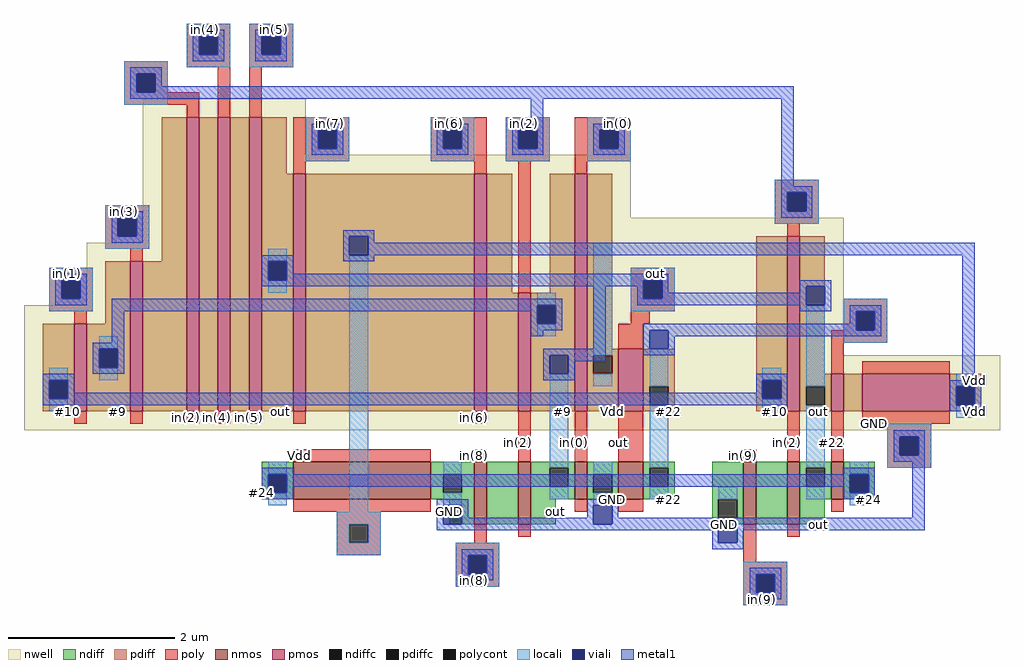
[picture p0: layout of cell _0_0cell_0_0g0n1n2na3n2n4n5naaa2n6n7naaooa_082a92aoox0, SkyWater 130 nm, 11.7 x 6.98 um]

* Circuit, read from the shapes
.subckt _0_0cell_0_0g0n1n2na3n2n4n5naaa2n6n7naaooa_082a92aoox0 Vdd in(9) in(8) in(7) in(6) in(5) in(4) in(3) in(2) in(1) out in(0)
XM1 GND Vdd #24 VSUBS sky130_fd_pr__nfet_01v8 w=0.45 l=1.65
XM2 n1 in(8) GND VSUBS sky130_fd_pr__nfet_01v8 w=0.75 l=0.15
XM3 out in(2) n1 VSUBS sky130_fd_pr__nfet_01v8 w=0.75 l=0.15
XM4 GND in(0) out VSUBS sky130_fd_pr__nfet_01v8 w=0.45 l=0.15
XM5 #22 out GND VSUBS sky130_fd_pr__nfet_01v8 w=0.45 l=0.3
XM6 n2 in(9) GND VSUBS sky130_fd_pr__nfet_01v8 w=0.75 l=0.15
XM7 out in(2) n2 VSUBS sky130_fd_pr__nfet_01v8 w=0.75 l=0.15
XM8 #24 #22 out VSUBS sky130_fd_pr__nfet_01v8 w=0.45 l=0.15
XM9 #9 in(1) #10 n3 sky130_fd_pr__pfet_01v8 w=1.05 l=0.15
XM10 n4 in(3) #9 n3 sky130_fd_pr__pfet_01v8 w=1.8 l=0.15
XM11 n5 in(2) n4 n3 sky130_fd_pr__pfet_01v8 w=3.525 l=0.15
XM12 n6 in(4) n5 n3 sky130_fd_pr__pfet_01v8 w=3.525 l=0.15
XM13 out in(5) n6 n3 sky130_fd_pr__pfet_01v8 w=3.525 l=0.15
XM14 n7 in(7) out n3 sky130_fd_pr__pfet_01v8 w=2.85 l=0.15
XM15 n8 in(6) n7 n3 sky130_fd_pr__pfet_01v8 w=2.85 l=0.15
XM16 #9 in(2) n8 n3 sky130_fd_pr__pfet_01v8 w=1.425 l=0.15
XM17 Vdd in(0) #9 n3 sky130_fd_pr__pfet_01v8 w=2.85 l=0.15
XM18 #22 out Vdd n3 sky130_fd_pr__pfet_01v8 w=0.75 l=0.3
XM19 out in(2) #10 n3 sky130_fd_pr__pfet_01v8 w=2.1 l=0.15
XM20 n9 #22 out n3 sky130_fd_pr__pfet_01v8 w=0.45 l=0.15
XM21 Vdd GND n9 n3 sky130_fd_pr__pfet_01v8 w=0.45 l=1.05
.ends

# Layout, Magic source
magic
tech sky130A
magscale 1 2
<< nwell >>
rect 360 975 750 1110
rect 360 825 1530 975
rect 360 765 2040 825
rect 225 615 2040 765
rect 75 495 2040 615
rect 75 315 2415 495
<< nmos >>
rect 720 150 1050 240
rect 1155 90 1185 240
rect 1260 90 1290 240
rect 1395 150 1425 240
rect 1500 150 1560 240
rect 1800 90 1830 240
rect 1905 90 1935 240
rect 2010 150 2040 240
<< pmos >>
rect 195 360 225 570
rect 330 360 360 720
rect 465 360 495 1065
rect 540 360 570 1065
rect 615 360 645 1065
rect 720 360 750 930
rect 1155 360 1185 930
rect 1260 360 1290 645
rect 1395 360 1425 930
rect 1500 360 1560 510
rect 1905 360 1935 780
rect 2010 360 2040 450
rect 2085 360 2295 450
<< ndiff >>
rect 645 210 720 240
rect 645 165 660 210
rect 705 165 720 210
rect 645 150 720 165
rect 1050 210 1155 240
rect 1050 165 1080 210
rect 1125 165 1155 210
rect 1050 150 1155 165
rect 1095 90 1155 150
rect 1185 90 1260 240
rect 1290 225 1395 240
rect 1290 180 1335 225
rect 1380 180 1395 225
rect 1290 150 1395 180
rect 1425 210 1500 240
rect 1425 165 1440 210
rect 1485 165 1500 210
rect 1425 150 1500 165
rect 1560 225 1635 240
rect 1560 180 1575 225
rect 1620 180 1635 225
rect 1560 150 1635 180
rect 1725 150 1800 240
rect 1290 90 1350 150
rect 1725 105 1740 150
rect 1785 105 1800 150
rect 1725 90 1800 105
rect 1830 90 1905 240
rect 1935 225 2010 240
rect 1935 180 1950 225
rect 1995 180 2010 225
rect 1935 150 2010 180
rect 2040 210 2115 240
rect 2040 165 2055 210
rect 2100 165 2115 210
rect 2040 150 2115 165
rect 1935 90 1995 150
<< pdiff >>
rect 405 720 465 1065
rect 270 570 330 720
rect 120 435 195 570
rect 120 390 135 435
rect 180 390 195 435
rect 120 360 195 390
rect 225 510 330 570
rect 225 465 255 510
rect 300 465 330 510
rect 225 360 330 465
rect 360 360 465 720
rect 495 360 540 1065
rect 570 360 615 1065
rect 645 930 705 1065
rect 645 720 720 930
rect 645 675 660 720
rect 705 675 720 720
rect 645 360 720 675
rect 750 360 1155 930
rect 1185 645 1245 930
rect 1335 645 1395 930
rect 1185 360 1260 645
rect 1290 615 1395 645
rect 1290 570 1305 615
rect 1350 570 1395 615
rect 1290 360 1395 570
rect 1425 510 1485 930
rect 1425 495 1500 510
rect 1425 450 1440 495
rect 1485 450 1500 495
rect 1425 360 1500 450
rect 1560 420 1635 510
rect 1560 375 1575 420
rect 1620 375 1635 420
rect 1560 360 1635 375
rect 1830 435 1905 780
rect 1830 390 1845 435
rect 1890 390 1905 435
rect 1830 360 1905 390
rect 1935 450 1995 780
rect 1935 420 2010 450
rect 1935 375 1950 420
rect 1995 375 2010 420
rect 1935 360 2010 375
rect 2040 360 2085 450
rect 2295 420 2370 450
rect 2295 375 2310 420
rect 2355 375 2370 420
rect 2295 360 2370 375
<< ndiffc >>
rect 660 165 705 210
rect 1080 165 1125 210
rect 1335 180 1380 225
rect 1440 165 1485 210
rect 1575 180 1620 225
rect 1740 105 1785 150
rect 1950 180 1995 225
rect 2055 165 2100 210
<< pdiffc >>
rect 135 390 180 435
rect 255 465 300 510
rect 660 675 705 720
rect 1305 570 1350 615
rect 1440 450 1485 495
rect 1575 375 1620 420
rect 1845 390 1890 435
rect 1950 375 1995 420
rect 2310 375 2355 420
<< poly >>
rect 465 1260 570 1290
rect 465 1215 495 1260
rect 540 1215 570 1260
rect 315 1170 420 1200
rect 465 1185 570 1215
rect 315 1125 345 1170
rect 390 1125 420 1170
rect 315 1095 495 1125
rect 465 1065 495 1095
rect 540 1065 570 1185
rect 615 1260 720 1290
rect 615 1215 645 1260
rect 690 1215 720 1260
rect 615 1185 720 1215
rect 615 1065 645 1185
rect 270 825 375 855
rect 270 780 300 825
rect 345 780 375 825
rect 270 750 375 780
rect 330 720 360 750
rect 135 675 240 705
rect 135 630 165 675
rect 210 630 240 675
rect 135 600 240 630
rect 195 570 225 600
rect 720 1035 855 1065
rect 720 990 780 1035
rect 825 990 855 1035
rect 720 960 855 990
rect 1050 1035 1185 1065
rect 1050 990 1080 1035
rect 1125 990 1185 1035
rect 1050 960 1185 990
rect 1230 1035 1335 1065
rect 1230 990 1260 1035
rect 1305 990 1335 1035
rect 1230 960 1335 990
rect 1395 1035 1530 1065
rect 1395 990 1455 1035
rect 1500 990 1530 1035
rect 1395 960 1530 990
rect 720 930 750 960
rect 1155 930 1185 960
rect 1260 645 1290 960
rect 1395 930 1425 960
rect 1875 885 1980 915
rect 1875 840 1905 885
rect 1950 840 1980 885
rect 1875 810 1980 840
rect 1905 780 1935 810
rect 1530 675 1635 705
rect 1530 630 1560 675
rect 1605 630 1635 675
rect 1530 600 1635 630
rect 1530 570 1575 600
rect 1500 510 1560 570
rect 2040 600 2145 630
rect 2040 555 2070 600
rect 2115 555 2145 600
rect 2010 525 2145 555
rect 2010 450 2040 525
rect 2085 450 2295 480
rect 195 330 225 360
rect 330 330 360 360
rect 465 330 495 360
rect 540 330 570 360
rect 615 330 645 360
rect 720 330 750 360
rect 1155 330 1185 360
rect 720 240 1050 270
rect 1155 240 1185 270
rect 1260 240 1290 360
rect 1395 240 1425 360
rect 1500 240 1560 360
rect 1800 240 1830 270
rect 1905 240 1935 360
rect 2010 240 2040 360
rect 2085 330 2295 360
rect 2145 300 2250 330
rect 2145 255 2175 300
rect 2220 255 2250 300
rect 720 120 1050 150
rect 825 90 930 120
rect 1395 120 1425 150
rect 1500 120 1560 150
rect 2145 225 2250 255
rect 2010 120 2040 150
rect 825 45 855 90
rect 900 45 930 90
rect 1155 45 1185 90
rect 1260 60 1290 90
rect 825 15 930 45
rect 1110 15 1215 45
rect 1110 -30 1140 15
rect 1185 -30 1215 15
rect 1110 -60 1215 -30
rect 1800 0 1830 90
rect 1905 60 1935 90
rect 1800 -30 1905 0
rect 1800 -75 1830 -30
rect 1875 -75 1905 -30
rect 1800 -105 1905 -75
<< polycont >>
rect 495 1215 540 1260
rect 345 1125 390 1170
rect 645 1215 690 1260
rect 300 780 345 825
rect 165 630 210 675
rect 780 990 825 1035
rect 1080 990 1125 1035
rect 1260 990 1305 1035
rect 1455 990 1500 1035
rect 1905 840 1950 885
rect 1560 630 1605 675
rect 2070 555 2115 600
rect 2175 255 2220 300
rect 855 45 900 90
rect 1140 -30 1185 15
rect 1830 -75 1875 -30
<< locali >>
rect 465 1260 570 1290
rect 465 1215 495 1260
rect 540 1215 570 1260
rect 315 1170 420 1200
rect 465 1185 570 1215
rect 615 1260 720 1290
rect 615 1215 645 1260
rect 690 1215 720 1260
rect 615 1185 720 1215
rect 315 1125 345 1170
rect 390 1125 420 1170
rect 315 1095 420 1125
rect 750 1035 855 1065
rect 750 990 780 1035
rect 825 990 855 1035
rect 750 960 855 990
rect 1050 1035 1155 1065
rect 1050 990 1080 1035
rect 1125 990 1155 1035
rect 1050 960 1155 990
rect 1230 1035 1335 1065
rect 1230 990 1260 1035
rect 1305 990 1335 1035
rect 1230 960 1335 990
rect 1425 1035 1530 1065
rect 1425 990 1455 1035
rect 1500 990 1530 1035
rect 1425 960 1530 990
rect 1875 885 1980 915
rect 270 825 375 855
rect 270 780 300 825
rect 345 780 375 825
rect 1875 840 1905 885
rect 1950 840 1980 885
rect 1875 810 1980 840
rect 270 750 375 780
rect 660 720 705 750
rect 135 675 240 705
rect 135 630 165 675
rect 210 630 240 675
rect 660 645 705 675
rect 135 600 240 630
rect 255 510 300 540
rect 135 435 180 465
rect 255 435 300 465
rect 135 360 180 390
rect 660 210 705 240
rect 660 135 705 165
rect 855 120 900 735
rect 1305 615 1350 645
rect 1305 540 1350 570
rect 1440 495 1485 765
rect 1530 675 1635 705
rect 1530 630 1560 675
rect 1605 630 1635 675
rect 1530 600 1635 630
rect 1080 210 1125 240
rect 1080 135 1125 165
rect 1335 225 1380 450
rect 1440 420 1485 450
rect 1575 420 1620 510
rect 1335 150 1380 180
rect 1440 210 1485 240
rect 825 90 930 120
rect 1440 135 1485 165
rect 1575 225 1620 375
rect 1845 435 1890 465
rect 1845 360 1890 390
rect 1950 420 1995 615
rect 2040 600 2145 630
rect 2040 555 2070 600
rect 2115 555 2145 600
rect 2040 525 2145 555
rect 1950 225 1995 375
rect 2310 420 2355 450
rect 2310 345 2355 375
rect 2145 300 2250 330
rect 2145 255 2175 300
rect 2220 255 2250 300
rect 1575 150 1620 180
rect 1740 150 1785 180
rect 1950 150 1995 180
rect 2055 210 2100 240
rect 2145 225 2250 255
rect 2055 135 2100 165
rect 1740 90 1785 105
rect 825 45 855 90
rect 900 45 930 90
rect 825 15 930 45
rect 1110 15 1215 45
rect 1110 -30 1140 15
rect 1185 -30 1215 15
rect 1110 -60 1215 -30
rect 1800 -30 1905 0
rect 1800 -75 1830 -30
rect 1875 -75 1905 -30
rect 1800 -105 1905 -75
<< viali >>
rect 495 1215 540 1260
rect 645 1215 690 1260
rect 345 1125 390 1170
rect 780 990 825 1035
rect 1080 990 1125 1035
rect 1260 990 1305 1035
rect 1455 990 1500 1035
rect 300 780 345 825
rect 1905 840 1950 885
rect 165 630 210 675
rect 660 675 705 720
rect 855 735 900 780
rect 255 465 300 510
rect 135 390 180 435
rect 660 165 705 210
rect 1305 570 1350 615
rect 1560 630 1605 675
rect 1950 615 1995 660
rect 1335 450 1380 495
rect 1575 510 1620 555
rect 1080 90 1125 135
rect 1845 390 1890 435
rect 2070 555 2115 600
rect 2310 375 2355 420
rect 2175 255 2220 300
rect 2055 165 2100 210
rect 1440 90 1485 135
rect 1740 45 1785 90
rect 1140 -30 1185 15
rect 1830 -75 1875 -30
<< metal1 >>
rect 480 1260 555 1275
rect 480 1215 495 1260
rect 540 1215 555 1260
rect 480 1200 555 1215
rect 630 1260 705 1275
rect 630 1215 645 1260
rect 690 1215 705 1260
rect 630 1200 705 1215
rect 330 1170 405 1185
rect 330 1125 345 1170
rect 390 1140 405 1170
rect 390 1125 1920 1140
rect 330 1110 1920 1125
rect 1290 1050 1320 1110
rect 765 1035 840 1050
rect 765 990 780 1035
rect 825 990 840 1035
rect 765 975 840 990
rect 1065 1035 1140 1050
rect 1065 990 1080 1035
rect 1125 990 1140 1035
rect 1065 975 1140 990
rect 1245 1035 1320 1050
rect 1245 990 1260 1035
rect 1305 990 1320 1035
rect 1245 975 1320 990
rect 1440 1035 1515 1050
rect 1440 990 1455 1035
rect 1500 990 1515 1035
rect 1440 975 1515 990
rect 1890 900 1920 1110
rect 1890 885 1965 900
rect 1890 840 1905 885
rect 1950 840 1965 885
rect 285 825 360 840
rect 1890 825 1965 840
rect 285 780 300 825
rect 345 780 360 825
rect 285 765 360 780
rect 840 780 915 795
rect 840 735 855 780
rect 900 765 915 780
rect 900 735 2355 765
rect 645 720 720 735
rect 840 720 915 735
rect 150 675 225 690
rect 150 630 165 675
rect 210 630 225 675
rect 645 675 660 720
rect 705 690 720 720
rect 705 675 1620 690
rect 645 660 1560 675
rect 150 615 225 630
rect 285 615 1365 630
rect 285 600 1305 615
rect 285 525 315 600
rect 1290 570 1305 600
rect 1350 570 1365 615
rect 1290 555 1365 570
rect 1290 540 1320 555
rect 240 510 315 525
rect 1440 510 1470 660
rect 1545 630 1560 660
rect 1605 645 1620 675
rect 1935 660 2010 675
rect 1935 645 1950 660
rect 1605 630 1950 645
rect 1545 615 1950 630
rect 1995 615 2010 660
rect 1935 600 2010 615
rect 2055 600 2130 615
rect 2055 570 2070 600
rect 240 465 255 510
rect 300 465 315 510
rect 240 450 315 465
rect 1320 495 1470 510
rect 1560 555 2070 570
rect 2115 555 2130 600
rect 1560 510 1575 555
rect 1620 540 2130 555
rect 1620 510 1635 540
rect 1560 495 1635 510
rect 1320 450 1335 495
rect 1380 480 1470 495
rect 1380 450 1395 480
rect 120 435 195 450
rect 1320 435 1395 450
rect 1830 435 1905 450
rect 2325 435 2355 735
rect 120 390 135 435
rect 180 405 195 435
rect 1830 405 1845 435
rect 180 390 1845 405
rect 1890 390 1905 435
rect 120 375 1905 390
rect 2295 420 2370 435
rect 2295 375 2310 420
rect 2355 375 2370 420
rect 2295 360 2370 375
rect 2160 300 2235 315
rect 2160 255 2175 300
rect 2220 255 2235 300
rect 2160 240 2235 255
rect 645 210 720 225
rect 2040 210 2115 225
rect 645 165 660 210
rect 705 180 2055 210
rect 705 165 720 180
rect 645 150 720 165
rect 2040 165 2055 180
rect 2100 165 2115 210
rect 2040 150 2115 165
rect 1065 135 1140 150
rect 1065 90 1080 135
rect 1125 105 1140 135
rect 1425 135 1500 150
rect 1425 105 1440 135
rect 1125 90 1440 105
rect 1485 105 1500 135
rect 2205 105 2235 240
rect 1485 90 2235 105
rect 1065 75 1740 90
rect 1725 45 1740 75
rect 1785 75 2235 90
rect 1785 45 1800 75
rect 1725 30 1800 45
rect 1125 15 1200 30
rect 1125 -30 1140 15
rect 1185 -30 1200 15
rect 1125 -45 1200 -30
rect 1815 -30 1890 -15
rect 1815 -75 1830 -30
rect 1875 -75 1890 -30
rect 1815 -90 1890 -75
<< labels >>
flabel poly 735 255 735 255 1 FreeSerif 120 0 0 0 Vdd
flabel ndiff 645 165 645 165 3 FreeSerif 120 0 0 0 #24
flabel ndiff 1095 120 1095 120 3 FreeSerif 120 0 0 0 GND
flabel poly 1155 255 1155 255 3 FreeSerif 120 0 0 0 in(8)
flabel poly 1155 345 1155 345 3 FreeSerif 120 0 0 0 in(6)
flabel ndiff 1350 120 1350 120 7 FreeSerif 120 0 0 0 out
flabel ndiff 1620 150 1620 150 1 FreeSerif 120 0 0 0 #22
flabel ndiff 1485 150 1485 150 1 FreeSerif 120 0 0 0 GND
flabel ndiff 1755 90 1755 90 1 FreeSerif 120 0 0 0 GND
flabel ndiff 1980 90 1980 90 1 FreeSerif 120 0 0 0 out
flabel ndiff 2100 150 2100 150 1 FreeSerif 120 0 0 0 #24
flabel pdiff 2355 360 2355 360 1 FreeSerif 120 0 0 0 Vdd
flabel poly 2115 330 2115 330 1 FreeSerif 120 0 0 0 GND
flabel poly 2010 285 2010 285 3 FreeSerif 120 0 0 0 #22
flabel poly 1905 285 1905 285 3 FreeSerif 120 0 0 0 in(2)
flabel pdiff 1980 360 1980 360 1 FreeSerif 120 0 0 0 out
flabel pdiff 1875 360 1875 360 1 FreeSerif 120 0 0 0 #10
flabel poly 1800 255 1800 255 1 FreeSerif 120 0 0 0 in(9)
flabel poly 1260 285 1260 285 3 FreeSerif 120 0 0 0 in(2)
flabel poly 1395 285 1395 285 3 FreeSerif 120 0 0 0 in(0)
flabel poly 1500 285 1500 285 3 FreeSerif 120 0 0 0 out
flabel pdiff 1620 360 1620 360 1 FreeSerif 120 0 0 0 #22
flabel pdiff 1485 360 1485 360 1 FreeSerif 120 0 0 0 Vdd
flabel pdiff 1365 360 1365 360 1 FreeSerif 120 0 0 0 #9
flabel pdiff 690 360 690 360 1 FreeSerif 120 0 0 0 out
flabel pdiff 300 360 300 360 1 FreeSerif 120 0 0 0 #9
flabel pdiff 180 360 180 360 1 FreeSerif 120 0 0 0 #10
flabel poly 465 345 465 345 3 FreeSerif 120 0 0 0 in(2)
flabel poly 540 345 540 345 3 FreeSerif 120 0 0 0 in(4)
flabel poly 615 345 615 345 3 FreeSerif 120 0 0 0 in(5)
flabel poly 720 345 720 345 3 FreeSerif 120 0 0 0 in(7)
flabel poly 195 345 195 345 3 FreeSerif 120 0 0 0 in(1)
flabel poly 330 345 330 345 3 FreeSerif 120 0 0 0 in(3)
flabel metal1 1155 -45 1155 -45 5 FreeSerif 120 0 0 0 in(8)
port 4 s
flabel metal1 180 690 180 690 1 FreeSerif 120 0 0 0 in(1)
port 11 n
flabel metal1 315 840 315 840 1 FreeSerif 120 0 0 0 in(3)
port 9 n
flabel metal1 510 1275 510 1275 1 FreeSerif 120 0 0 0 in(4)
port 8 n
flabel metal1 675 1275 675 1275 1 FreeSerif 120 0 0 0 in(5)
port 7 n
flabel metal1 1845 -90 1845 -90 5 FreeSerif 120 0 0 0 in(9)
port 3 s
flabel metal1 1275 1050 1275 1050 1 FreeSerif 120 0 0 0 in(2)
port 10 n
flabel metal1 1590 690 1590 690 1 FreeSerif 120 0 0 0 out
port 12 n
flabel metal1 2355 435 2355 435 3 FreeSerif 120 0 0 0 Vdd
port 2 e
flabel metal1 810 1050 810 1050 1 FreeSerif 120 0 0 0 in(7)
port 5 n
flabel metal1 1095 1050 1095 1050 1 FreeSerif 120 0 0 0 in(6)
port 6 n
flabel metal1 1500 1050 1500 1050 1 FreeSerif 120 0 0 0 in(0)
port 13 n
<< end >>
